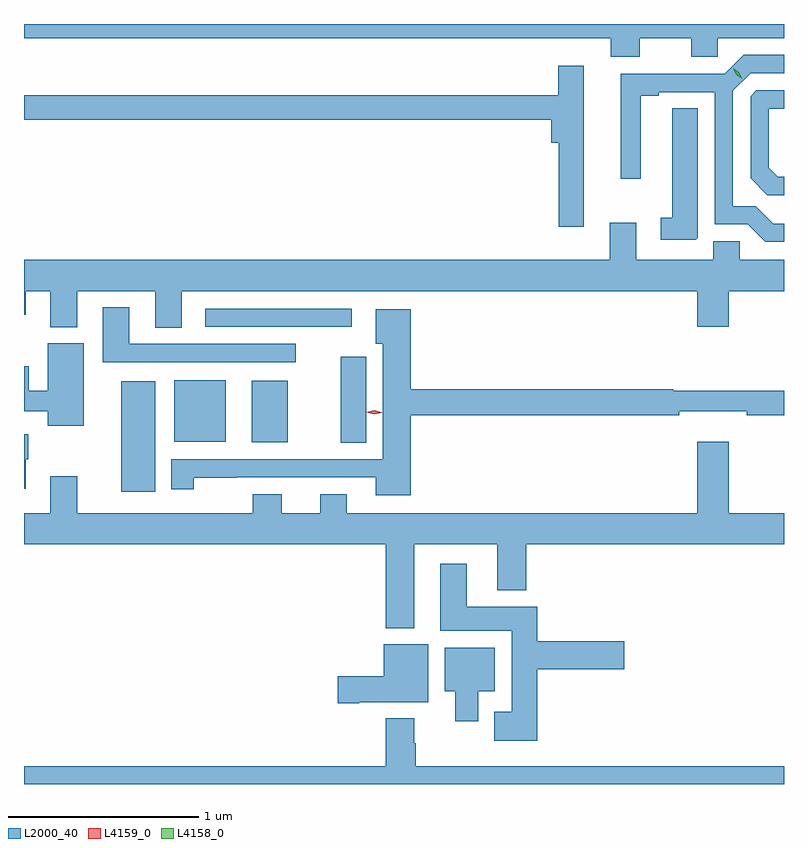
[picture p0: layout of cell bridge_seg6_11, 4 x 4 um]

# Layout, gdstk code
import gdstk
lib = gdstk.Library(unit=1e-6, precision=1e-09)
def R(c, l, rs):  # rectangles x0, y0, x1, y1
    for r in rs: c.add(gdstk.rectangle(r[:2], r[2:], *l))
def P(c, l, *ps):  # polygons
    for p in ps: c.add(gdstk.Polygon(p, *l))
L2000_40 = (2000, 40)
L4158_0 = (4158, 0)
L4159_0 = (4159, 0)

bridge_seg6_11 = lib.new_cell('bridge_seg6_11')
R(bridge_seg6_11, L2000_40, [(953.183,978.248,953.362,978.829), (954.338,978.505,954.472,978.958), (953.87,978.509,954.061,978.832), (953.462,978.512,953.734,978.835), (953.625,979.116,954.397,979.212)])
P(bridge_seg6_11, L2000_40, [(955.912,980.636),(956.183,980.636),(956.183,980.538),(956.322,980.538),(956.322,980.636),(956.672,980.636),(956.672,980.71),(952.672,980.71),(952.672,980.636),(955.76,980.636),(955.76,980.537),(955.912,980.537)],
  [(956.672,979.66),(956.615,979.66),(956.524,979.751),(956.403,979.751),(956.403,980.358),(956.496,980.451),(956.672,980.451),(956.672,980.547),(956.459,980.547),(956.36,980.448),(955.814,980.448),(955.814,979.896),(955.918,979.896),(955.918,980.332),(956.014,980.332),(956.014,980.352),(956.307,980.352),(956.307,979.656),(956.481,979.656),(956.574,979.563),(956.672,979.563)],
  [(955.618,980.491),(955.484,980.491),(955.484,980.335),(952.672,980.335),(952.672,980.206),(955.448,980.206),(955.448,980.084),(955.487,980.084),(955.487,979.644),(955.618,979.644)],
  [(956.672,979.905),(956.64,979.905),(956.592,979.953),(956.592,980.265),(956.672,980.265),(956.672,980.361),(956.526,980.361),(956.496,980.331),(956.496,979.899),(956.585,979.81),(956.672,979.81)],
  [(956.218,979.585),(956.218,980.267),(956.084,980.267),(956.084,979.691),(956.022,979.691),(956.022,979.575),(956.208,979.575)],
  [(953.503,979.304),(956.216,979.304),(956.216,979.116),(956.38,979.116),(956.38,979.304),(956.672,979.304),(956.672,979.468),(956.439,979.468),(956.439,979.566),(956.3,979.566),(956.3,979.468),(955.894,979.468),(955.894,979.663),(955.754,979.663),(955.754,979.468),(952.672,979.468),(952.672,979.18),(952.681,979.18),(952.681,979.304),(952.811,979.304),(952.811,979.115),(952.951,979.115),(952.951,979.304),(953.363,979.304),(953.363,979.111),(953.503,979.111)],
  [(954.103,979.026),(953.227,979.026),(953.227,979.219),(953.087,979.219),(953.087,978.93),(954.103,978.93)],
  [(954.707,978.652),(956.12,978.652),(956.12,978.671),(956.476,978.671),(956.476,978.652),(956.672,978.652),(956.672,978.781),(956.09,978.781),(956.09,978.788),(954.707,978.788),(954.707,979.21),(954.524,979.21),(954.524,979.028),(954.56,979.028),(954.56,978.42),(953.447,978.42),(953.447,978.261),(953.565,978.261),(953.565,978.323),(953.792,978.323),(953.792,978.324),(954.524,978.324),(954.524,978.23),(954.707,978.23)],
  [(952.987,979.03),(952.796,979.03),(952.796,978.781),(952.696,978.781),(952.696,978.91),(952.672,978.91),(952.672,978.672),(952.796,978.672),(952.796,978.596),(952.987,978.596)],
  [(952.681,978.418),(952.694,978.418),(952.694,978.55),(952.672,978.55),(952.672,978.264),(952.681,978.264)],
  [(954.727,977.972),(955.163,977.972),(955.163,977.729),(955.316,977.729),(955.316,977.972),(956.672,977.972),(956.672,978.136),(956.38,978.136),(956.38,978.511),(956.216,978.511),(956.216,978.136),(954.37,978.136),(954.37,978.235),(954.23,978.235),(954.23,978.136),(954.028,978.136),(954.028,978.235),(953.876,978.235),(953.876,978.136),(952.951,978.136),(952.951,978.331),(952.811,978.331),(952.811,978.136),(952.672,978.136),(952.672,977.972),(954.575,977.972),(954.575,977.531),(954.727,977.531)],
  [(955.373,977.315),(955.831,977.315),(955.831,977.462),(955.373,977.462),(955.373,977.644),(955.003,977.644),(955.003,977.869),(954.863,977.869),(954.863,977.516),(955.238,977.516),(955.238,977.089),(955.148,977.089),(955.148,976.937),(955.373,976.937)],
  [(954.436,977.141),(954.799,977.141),(954.799,977.446),(954.566,977.446),(954.566,977.276),(954.324,977.276),(954.324,977.134),(954.436,977.134)],
  [(955.063,977.198),(955.15,977.198),(955.15,977.428),(954.887,977.428),(954.887,977.198),(954.941,977.198),(954.941,977.04),(955.063,977.04)],
  [(956.672,976.804),(954.735,976.804),(954.735,976.925),(954.727,976.925),(954.727,977.056),(954.575,977.056),(954.575,976.804),(952.672,976.804),(952.672,976.71),(956.672,976.71)])
P(bridge_seg6_11, L4158_0, [(956.451,980.422),(956.42,980.443),(956.404,980.476),(956.404,980.477),(956.404,980.477),(956.435,980.456),(956.451,980.423),(956.451,980.422)])
P(bridge_seg6_11, L4159_0, [(954.515,978.656),(954.474,978.666),(954.474,978.666),(954.474,978.667),(954.515,978.676),(954.556,978.666),(954.556,978.665),(954.556,978.665)])

lib.write_gds('bridge_seg6_11.gds')
